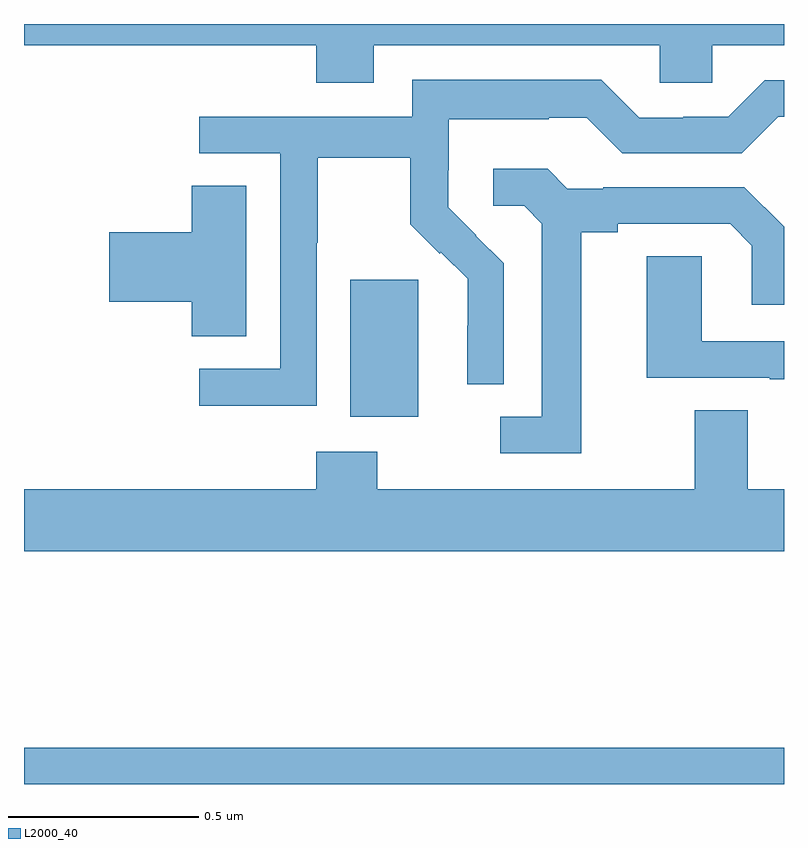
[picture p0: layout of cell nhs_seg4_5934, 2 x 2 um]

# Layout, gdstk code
import gdstk
lib = gdstk.Library(unit=1e-6, precision=1e-09)
def R(c, l, rs):  # rectangles x0, y0, x1, y1
    for r in rs: c.add(gdstk.rectangle(r[:2], r[2:], *l))
def P(c, l, *ps):  # polygons
    for p in ps: c.add(gdstk.Polygon(p, *l))
L2000_40 = (2000, 40)

nhs_seg4_5934 = lib.new_cell('nhs_seg4_5934')
R(nhs_seg4_5934, L2000_40, [(184,770.9,186,770.996), (184.859,771.866,185.038,772.227)])
P(nhs_seg4_5934, L2000_40, [(184.921,772.844),(185.673,772.844),(185.673,772.746),(185.811,772.746),(185.811,772.844),(186,772.844),(186,772.9),(184,772.9),(184,772.844),(184.769,772.844),(184.769,772.745),(184.921,772.745)],
  [(184.77,772.324),(184.773,772.324),(184.773,772.548),(185.017,772.548),(185.017,772.373),(185.094,772.296),(185.097,772.299),(185.168,772.229),(185.168,772.106),(185.166,772.106),(185.166,771.952),(185.262,771.952),(185.262,772.27),(185.189,772.343),(185.19,772.344),(185.116,772.418),(185.116,772.515),(185.118,772.515),(185.118,772.649),(185.381,772.649),(185.381,772.653),(185.481,772.653),(185.574,772.56),(185.889,772.56),(185.985,772.656),(186,772.656),(186,772.752),(185.949,772.752),(185.853,772.656),(185.735,772.656),(185.735,772.653),(185.619,772.653),(185.519,772.753),(185.022,772.753),(185.022,772.656),(184.461,772.656),(184.461,772.56),(184.674,772.56),(184.674,771.993),(184.461,771.993),(184.461,771.895),(184.77,771.895)],
  [(185.467,772.352),(185.563,772.352),(185.563,772.374),(185.858,772.374),(185.915,772.317),(185.915,772.161),(186,772.161),(186,772.366),(185.896,772.47),(185.524,772.47),(185.524,772.467),(185.43,772.467),(185.378,772.519),(185.235,772.519),(185.235,772.422),(185.316,772.422),(185.363,772.375),(185.363,771.867),(185.253,771.867),(185.253,771.771),(185.467,771.771)],
  [(184.585,772.475),(184.442,772.475),(184.442,772.352),(184.224,772.352),(184.224,772.169),(184.442,772.169),(184.442,772.078),(184.585,772.078)],
  [(186,772.065),(185.784,772.065),(185.784,772.289),(185.639,772.289),(185.639,771.969),(185.963,771.969),(185.963,771.965),(186,771.965)],
  [(186,771.676),(185.905,771.676),(185.905,771.884),(185.765,771.884),(185.765,771.676),(184.929,771.676),(184.929,771.775),(184.769,771.775),(184.769,771.676),(184,771.676),(184,771.512),(186,771.512)])

lib.write_gds('nhs_seg4_5934.gds')
